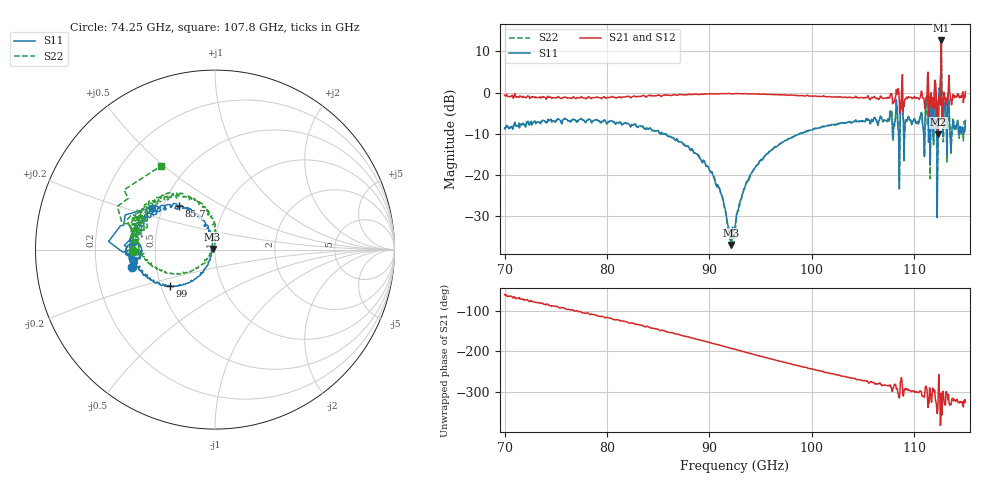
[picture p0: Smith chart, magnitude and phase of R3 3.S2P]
! Python used to change reference impedance from 50 to 1.
# Hz S RI R 1
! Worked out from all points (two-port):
!   901 points, 70 GHz to 115 GHz, reference 1 ohm
!   highest |S21| = 12.69 dB at 112.7 GHz (marker M1); lowest = -10.2 dB at 112.3 GHz (marker M2)
!   |S21| within 3 dB of the highest: 112.6405 GHz to 112.6582 GHz (17.7 MHz wide, 0.0157 % of centre)
!   lowest |S11| = -37.2 dB at 92.1 GHz (marker M3), VSWR 1.03, Z = 0.974 + j0.00726 ohm
!   |S11| at or under -10 dB: 85.42 GHz to 98.88 GHz (13.46 GHz wide, 14.6 % of centre); 108.4612 GHz to 108.6086 GHz (147.4 MHz wide, 0.136 % of centre); 113.5035 GHz to 113.6668 GHz (163.3 MHz wide, 0.144 % of centre)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
!   |S22| runs from -37.5 to 12.3 dB; largest |S21 - S12| = 1.4
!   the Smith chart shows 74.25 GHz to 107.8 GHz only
!   S11 on the Smith chart (normalised r, x): 74.25 GHz: 0.36, -0.09; 85.7 GHz: 0.60, +0.32; 99 GHz: 0.56, -0.25; 107.8 GHz: 0.44, +0.25
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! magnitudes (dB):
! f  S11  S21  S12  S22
! 70 GHz  -8.7  -0.7  -0.7  -8.8
! 74.25 GHz  -6.5  -0.9  -0.9  -6.8
! 77.5 GHz  -6.4  -1.0  -1.0  -6.3
! 85 GHz  -9.2  -0.6  -0.6  -9.4
! 85.7 GHz  -10.0  -0.6  -0.5  -10.2
! 90.3 GHz  -19.7  -0.3  -0.3  -19.8
! 92.1 GHz  -37.2  -0.3  -0.3  -37.2
! 92.5 GHz  -32.6  -0.3  -0.3  -33.8
! 94.35 GHz  -18.7  -0.3  -0.3  -18.7
! 99 GHz  -9.9  -0.7  -0.7  -9.9
! 100 GHz  -9.1  -0.9  -0.9  -9.2
! 107.5 GHz  -6.7  -1.3  -1.3  -6.7
! 107.8 GHz  -7.5  -1.1  -1.2  -5.1
! 110.8 GHz  -8.2  -1.4  -1.4  -7.7
! 111.3 GHz  -1.2  4.3  4.3  -8.1
! 111.8 GHz  -2.6  -4.0  -4.0  -2.6
! 111.9 GHz  -11.7  -1.7  -1.7  -13.1
! 112.3 GHz  -8.6  -10.2  -10.3  -6.0
! 112.7 GHz  2.8  12.7  12.7  12.3
! 113 GHz  -2.8  -1.4  -1.4  -4.1
! 113.7 GHz  -10.6  -3.0  -3.0  -11.3
! 115 GHz  -6.8  0.2  0.2  -9.5
